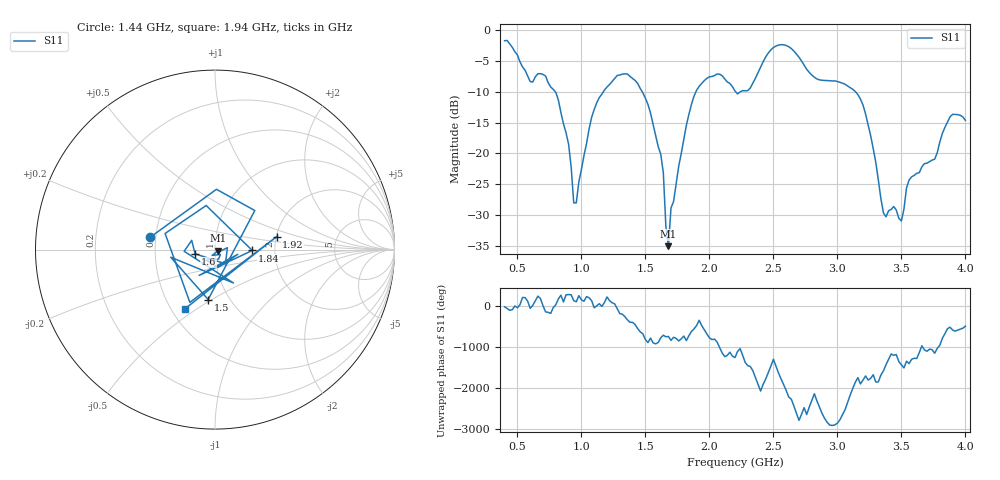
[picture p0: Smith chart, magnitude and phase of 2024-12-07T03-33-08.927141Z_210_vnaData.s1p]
!Created with skrf (http://scikit-rf.org).
# Hz S RI R 50.0
!freq ReS11 ImS11
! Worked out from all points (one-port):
!   181 points, 400 MHz to 4 GHz, reference 50 ohm
!   lowest |S11| = -35.0 dB at 1.68 GHz (marker M1), VSWR 1.04, Z = 51.7 - j0.686 ohm
!   |S11| at or under -10 dB: 796.7 MHz to 1.171 GHz (374.5 MHz wide, 38.1 % of centre); 1.476 GHz to 1.895 GHz (419.1 MHz wide, 24.9 % of centre); 3.142 GHz to end of sweep (the widest 3 of 4)
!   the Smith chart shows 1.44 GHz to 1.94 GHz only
!   S11 on the Smith chart (normalised r, x): 1.44 GHz: 0.46, +0.07; 1.5 GHz: 0.80, -0.48; 1.6 GHz: 0.80, -0.04; 1.84 GHz: 1.52, -0.02; 1.92 GHz: 2.01, +0.33; 1.94 GHz: 0.59, -0.45
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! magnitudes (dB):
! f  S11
! 400 MHz  -1.7
! 600 MHz  -8.3
! 720 MHz  -7.4
! 860 MHz  -15.2
! 960 MHz  -28.0
! 1.1 GHz  -12.9
! 1.3 GHz  -7.3
! 1.44 GHz  -8.7
! 1.5 GHz  -11.0
! 1.6 GHz  -18.9
! 1.64 GHz  -23.1
! 1.68 GHz  -35.0
! 1.7 GHz  -28.8
! 1.76 GHz  -22.1
! 1.84 GHz  -13.6
! 1.92 GHz  -9.1
! 1.94 GHz  -8.6
! 2.2 GHz  -9.9
! 2.5 GHz  -2.8
! 2.66 GHz  -3.4
! 3.1 GHz  -9.3
! 3.22 GHz  -13.6
! 3.36 GHz  -29.7
! 3.5 GHz  -31.0
! 3.56 GHz  -24.3
! 3.76 GHz  -20.9
! 3.88 GHz  -14.1
! 4 GHz  -14.6
